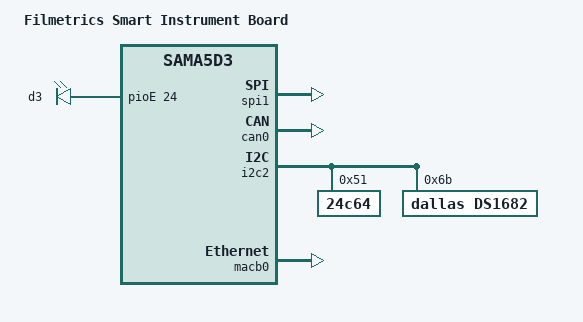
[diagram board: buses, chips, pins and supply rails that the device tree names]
/*
 * smartinstr.dts - Device Tree file for Filmetrics Smart Instrument Board
 *
 *  Copyright (C) 2012 Atmel,
 *                2012 Ludovic Desroches <ludovic.desroches@atmel.com>
 *
 *  Copyright (C) 2015 Filmetrics Inc.
 *
 * Licensed under GPLv2 or later.
 */
/dts-v1/;
/include/ "smartinstr-mb.dtsi"
/include/ "sama5d3dm.dtsi"

/ {
	model = "Filmetrics Smart Instrument Board";
	compatible = "atmel,sama5d34ek", "atmel,sama5ek", "atmel,sama5d3", "atmel,sama5";

	chosen {
		bootargs = "console=ttyS0,115200 mtdparts=atmel_nand:8M(bootstrap/uboot/kernel)ro,-(rootfs) rw rootfstype=ubifs ubi.mtd=1 root=ubi0:rootfs";
	};

	ahb {
		apb {
			spi1: spi@f8008000 {
				status = "okay";
			};

			ssc0: ssc@f0008000 {
				status = "okay";
			};

			can0: can@f000c000 {
				status = "okay";
			};

			i2c0: i2c@f0014000 {
				status = "disabled";
			};

			i2c1: i2c@f0018000 {
				status = "disabled";
			};

			i2c2: i2c@f801c000 {
				status = "okay";

				24c64@51 {
					compatible = "24c64";
					reg = <0x51>;
					pagesize = <32>;
				};

				ds1682@6b {
					compatible = "dallas,ds1682";
					reg = <0x6b>;
				};
			};

			macb0: ethernet@f0028000 {
				status = "okay";
			};
		};
	};

	leds {
		d3 {
			label = "d3";
			gpios = <&pioE 24 0>;
		};
	};
};
